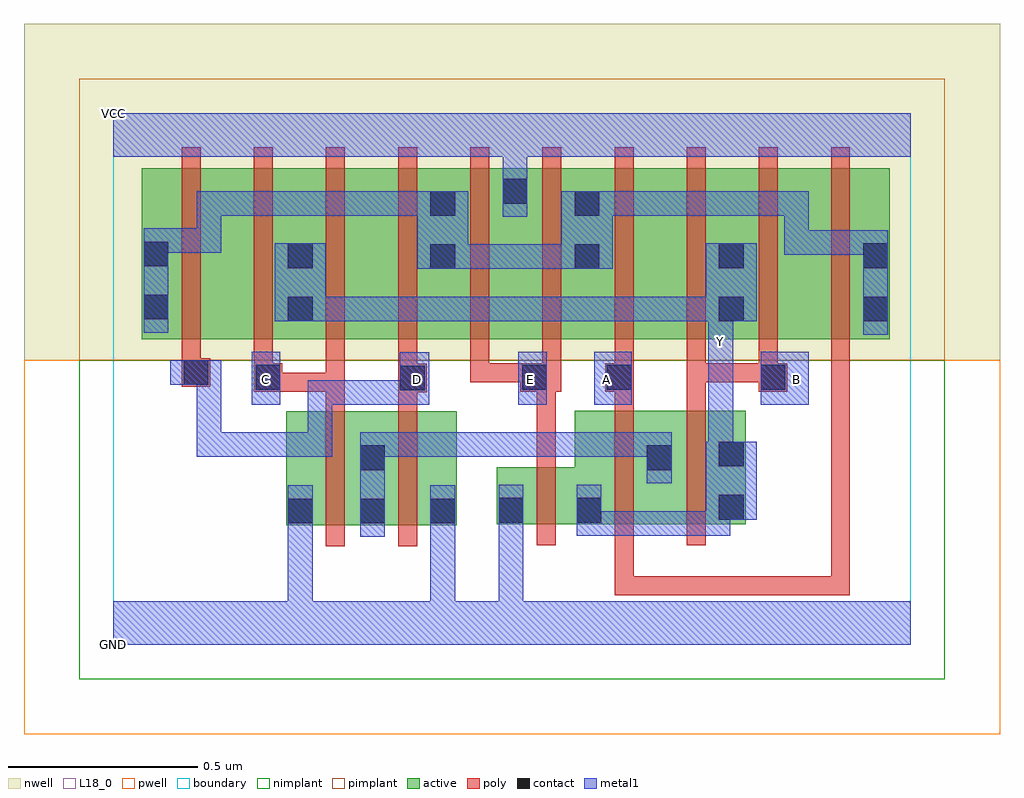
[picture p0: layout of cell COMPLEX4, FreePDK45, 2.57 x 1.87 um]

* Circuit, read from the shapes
.subckt COMPLEX4 A B C D E GND VCC Y
M1 n1 C GND VSUBS nfet w=0.3u l=0.05u
M2 GND D n1 VSUBS nfet w=0.3u l=0.05u
M3 Y E GND VSUBS nfet w=0.15u l=0.05u
M4 n1 A Y VSUBS nfet w=0.3u l=0.05u
M5 Y B n1 VSUBS nfet w=0.3u l=0.05u
M6 n2 D n3 n4 pfet w=0.45u l=0.05u
M7 Y C n2 n4 pfet w=0.45u l=0.05u
M8 n5 C Y n4 pfet w=0.45u l=0.05u
M9 n3 D n5 n4 pfet w=0.45u l=0.05u
M10 VCC E n3 n4 pfet w=0.45u l=0.05u m=2
M11 n6 A n3 n4 pfet w=0.45u l=0.05u
M12 Y B n6 n4 pfet w=0.45u l=0.05u
M13 n7 B Y n4 pfet w=0.45u l=0.05u
M14 n3 A n7 n4 pfet w=0.45u l=0.05u
.ends

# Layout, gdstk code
import gdstk
lib = gdstk.Library(unit=1e-6, precision=1e-09)
def R(c, l, rs):  # rectangles x0, y0, x1, y1
    for r in rs: c.add(gdstk.rectangle(r[:2], r[2:], *l))
def A(c, l, x, y, w, h, nx, ny, dx, dy):  # array of equal rectangles
    R(c, l, [(x+i*dx, y+j*dy, x+i*dx+w, y+j*dy+h) for i in range(nx) for j in range(ny)])
active = (1, 0)
pwell = (2, 0)
nwell = (3, 0)
nimplant = (4, 0)
pimplant = (5, 0)
poly = (9, 0)
contact = (10, 0)
metal1 = (11, 0)
L18_0 = (18, 0)
boundary = (235, 0)

complex4 = lib.new_cell('COMPLEX4')
R(complex4, active, [(0.455,0.315,0.53,0.615), (0.455,0.315,0.72,0.615), (0.645,0.315,0.905,0.615), (0.645,0.315,0.72,0.53), (0.83,0.315,0.905,0.547), (1.01,0.317,1.085,0.467), (1.01,0.317,1.29,0.467), (1.215,0.317,1.475,0.617), (1.215,0.317,1.29,0.467), (1.4,0.317,1.665,0.617), (1.59,0.317,1.665,0.617), (1.4,0.395,1.475,0.53), (0.075,0.805,0.3,1.255), (0.075,0.805,0.18,1.2), (0.3,0.805,0.53,1.255), (0.455,0.805,0.68,1.255), (0.455,0.805,0.53,1.07), (0.68,0.805,0.905,1.255), (0.83,0.805,1.095,1.255), (1.02,0.805,1.285,1.255), (1.21,0.805,1.44,1.255), (1.44,0.805,1.665,1.255), (1.59,0.805,1.82,1.255), (1.59,0.805,1.665,1.07), (1.82,0.805,2.045,1.255), (1.97,0.805,2.045,1.2), (1.02,0.852,1.095,1.255), (0.83,0.857,0.905,1.2), (1.21,0.857,1.285,1.2)])
R(complex4, pwell, [(-0.235,-0.235,2.335,0.75)])
R(complex4, nwell, [(-0.235,0.75,2.335,1.635)])
R(complex4, nimplant, [(-0.09,-0.09,2.19,0.75)])
R(complex4, pimplant, [(-0.09,0.75,2.19,1.49)])
A(complex4, poly, 0.94, 0.692, 0.05, 0.108, 5, 1, 0.19, 0)
A(complex4, poly, 0.18, 0.75, 0.05, 0.56, 10, 1, 0.19, 0)
R(complex4, poly, [(1.32,0.13,1.37,0.18), (1.32,0.13,1.37,0.18), (1.32,0.13,1.37,0.18), (1.32,0.13,1.56,0.18), (1.32,0.13,1.37,0.312), (1.51,0.13,1.56,0.18), (1.51,0.13,1.692,0.18), (1.642,0.13,1.692,0.18), (1.642,0.13,1.692,0.18), (1.642,0.13,1.692,0.18), (1.642,0.13,1.692,0.18), (1.642,0.13,1.692,0.18), (1.642,0.13,1.94,0.18), (1.89,0.13,1.94,0.8), (1.89,0.13,1.94,0.18), (1.89,0.13,1.94,0.18), (1.89,0.13,1.94,0.18), (1.89,0.13,1.94,0.18), (1.89,0.13,1.94,0.18), (1.89,0.13,1.94,0.18), (1.89,0.13,1.94,0.18), (1.89,0.13,1.94,0.18), (1.89,0.13,1.94,0.18), (0.56,0.26,0.61,0.67), (0.75,0.26,0.8,0.67), (1.115,0.262,1.165,0.522), (1.32,0.262,1.37,0.672), (1.51,0.262,1.56,0.672), (1.115,0.472,1.165,0.717), (0.56,0.62,0.61,0.717), (0.75,0.62,0.8,0.715), (1.32,0.622,1.37,0.717), (1.51,0.622,1.56,0.742), (0.75,0.665,0.825,0.74), (0.37,0.667,0.445,0.742), (0.395,0.667,0.61,0.717), (0.56,0.667,0.61,0.717), (0.56,0.667,0.61,0.717), (0.56,0.667,0.61,0.717), (0.56,0.667,0.61,0.8), (1.072,0.667,1.18,0.742), (1.295,0.667,1.37,0.742), (1.7,0.667,1.775,0.742), (0.18,0.68,0.255,0.755), (0.75,0.69,0.8,0.8), (0.37,0.692,0.42,0.8), (0.94,0.692,0.99,0.742), (0.94,0.692,1.122,0.742), (1.072,0.692,1.122,0.742), (1.072,0.692,1.122,0.742), (1.51,0.692,1.56,0.742), (1.51,0.692,1.75,0.742), (1.7,0.692,1.75,0.742), (1.7,0.692,1.75,0.742), (0.18,0.705,0.23,0.8)])
R(complex4, contact, [(0.46,0.32,0.525,0.385), (0.65,0.32,0.715,0.385), (0.835,0.32,0.9,0.385), (1.015,0.322,1.08,0.387), (1.22,0.322,1.285,0.387), (1.595,0.33,1.66,0.395), (0.65,0.46,0.715,0.525), (1.405,0.46,1.47,0.525), (1.595,0.47,1.66,0.535), (0.755,0.67,0.82,0.735), (0.375,0.672,0.44,0.737), (1.077,0.672,1.142,0.737), (1.3,0.672,1.365,0.737), (1.705,0.672,1.77,0.737), (0.185,0.685,0.25,0.75), (0.46,0.852,0.525,0.917), (1.595,0.852,1.66,0.917), (1.975,0.852,2.04,0.917), (0.08,0.857,0.145,0.922), (0.835,0.99,0.9,1.055), (1.215,0.99,1.28,1.055), (0.46,0.992,0.525,1.057), (1.595,0.992,1.66,1.057), (1.975,0.992,2.04,1.057), (0.08,0.997,0.145,1.062), (0.835,1.13,0.9,1.195), (1.215,1.13,1.28,1.195), (1.025,1.162,1.09,1.227)])
R(complex4, metal1, [(0,0,2.1,0.115), (0.46,0.05,0.525,0.115), (0.46,0.05,0.525,0.115), (0.46,0.05,0.525,0.35), (0.835,0.05,0.9,0.115), (0.835,0.05,0.9,0.115), (0.835,0.05,0.9,0.115), (0.835,0.05,0.9,0.115), (0.835,0.05,0.9,0.35), (1.015,0.05,1.08,0.115), (1.015,0.05,1.08,0.115), (1.015,0.05,1.08,0.115), (1.015,0.05,1.08,0.115), (1.015,0.05,1.08,0.115), (1.015,0.05,1.08,0.115), (1.015,0.05,1.08,0.352), (0.46,0.285,0.525,0.35), (0.46,0.285,0.525,0.35), (0.46,0.285,0.525,0.42), (0.65,0.285,0.715,0.56), (0.835,0.285,0.9,0.42), (1.015,0.287,1.08,0.422), (1.22,0.287,1.285,0.352), (1.22,0.287,1.285,0.352), (1.22,0.287,1.285,0.422), (1.22,0.287,1.452,0.352), (1.387,0.287,1.452,0.352), (1.387,0.287,1.625,0.352), (1.56,0.287,1.625,0.352), (1.56,0.287,1.625,0.352), (1.56,0.287,1.625,0.352), (1.56,0.287,1.625,0.395), (1.56,0.33,1.695,0.535), (1.405,0.425,1.47,0.56), (1.567,0.47,1.632,0.797), (0.22,0.495,0.285,0.56), (0.22,0.495,0.44,0.56), (0.22,0.495,0.285,0.75), (0.375,0.495,0.44,0.56), (0.375,0.495,0.577,0.56), (0.512,0.495,0.577,0.56), (0.512,0.495,0.577,0.697), (0.65,0.495,0.857,0.56), (0.792,0.495,0.857,0.56), (0.792,0.495,0.857,0.56), (0.792,0.495,0.857,0.56), (0.792,0.495,0.995,0.56), (0.93,0.495,0.995,0.56), (0.93,0.495,1.072,0.56), (1.007,0.495,1.072,0.56), (1.007,0.495,1.147,0.56), (1.082,0.495,1.147,0.56), (1.082,0.495,1.285,0.56), (1.22,0.495,1.285,0.56), (1.22,0.495,1.285,0.56), (1.22,0.495,1.285,0.56), (1.22,0.495,1.47,0.56), (0.365,0.632,0.44,0.772), (0.512,0.632,0.577,0.697), (0.512,0.632,0.577,0.697), (0.512,0.632,0.577,0.697), (0.512,0.632,0.715,0.697), (0.65,0.632,0.715,0.697), (0.65,0.632,0.82,0.697), (0.755,0.632,0.832,0.77), (1.067,0.632,1.142,0.772), (1.267,0.632,1.365,0.772), (1.705,0.632,1.832,0.772), (0.15,0.685,0.285,0.75), (0.22,0.685,0.285,0.75), (0.22,0.685,0.285,0.75), (1.567,0.732,1.632,0.867), (1.567,0.802,1.632,0.917), (1.975,0.817,2.04,1.092), (0.08,0.822,0.145,1.097), (0.425,0.852,0.56,1.057), (0.495,0.852,0.577,0.917), (0.512,0.852,0.577,0.917), (0.512,0.852,0.72,0.917), (0.655,0.852,0.72,0.917), (0.655,0.852,0.72,0.917), (0.655,0.852,0.72,0.917), (0.655,0.852,0.935,0.917), (0.87,0.852,0.935,0.917), (0.87,0.852,0.995,0.917), (0.93,0.852,0.995,0.917), (0.93,0.852,1.095,0.917), (1.03,0.852,1.095,0.917), (1.03,0.852,1.145,0.917), (1.08,0.852,1.145,0.917), (1.08,0.852,1.315,0.917), (1.25,0.852,1.315,0.917), (1.25,0.852,1.315,0.917), (1.25,0.852,1.315,0.917), (1.25,0.852,1.452,0.917), (1.387,0.852,1.452,0.917), (1.387,0.852,1.625,0.917), (1.56,0.852,1.625,0.917), (1.56,0.852,1.625,0.917), (1.56,0.852,1.695,1.057), (0.8,0.99,0.935,1.195), (0.87,0.99,0.995,1.055), (0.93,0.99,0.995,1.055), (0.93,0.99,1.107,1.055), (1.042,0.99,1.107,1.055), (1.042,0.99,1.132,1.055), (1.067,0.99,1.132,1.055), (1.067,0.99,1.245,1.055), (1.18,0.99,1.315,1.195), (1.767,1.027,1.832,1.092), (1.767,1.027,2.04,1.092), (1.767,1.027,1.832,1.195), (1.975,1.027,2.04,1.092), (1.975,1.027,2.04,1.092), (0.08,1.032,0.285,1.097), (0.22,1.032,0.285,1.097), (0.22,1.032,0.285,1.097), (0.22,1.032,0.285,1.097), (0.22,1.032,0.285,1.195), (1.025,1.127,1.09,1.262), (0.22,1.13,0.285,1.195), (0.22,1.13,0.422,1.195), (0.357,1.13,0.422,1.195), (0.357,1.13,0.577,1.195), (0.512,1.13,0.577,1.195), (0.512,1.13,0.577,1.195), (0.512,1.13,0.577,1.195), (0.512,1.13,0.715,1.195), (0.65,1.13,0.715,1.195), (0.65,1.13,0.715,1.195), (0.65,1.13,0.715,1.195), (0.65,1.13,0.865,1.195), (1.25,1.13,1.315,1.195), (1.25,1.13,1.315,1.195), (1.25,1.13,1.487,1.195), (1.422,1.13,1.487,1.195), (1.422,1.13,1.487,1.195), (1.422,1.13,1.487,1.195), (1.422,1.13,1.625,1.195), (1.56,1.13,1.625,1.195), (1.56,1.13,1.832,1.195), (1.767,1.13,1.832,1.195), (1.767,1.13,1.832,1.195), (1.767,1.13,1.832,1.195), (1.025,1.197,1.09,1.35), (0,1.285,2.1,1.4)])
R(complex4, L18_0, [(0,0,2.1,0.115), (0.46,0.05,0.525,0.115), (0.46,0.05,0.525,0.115), (0.46,0.05,0.525,0.35), (0.835,0.05,0.9,0.115), (0.835,0.05,0.9,0.115), (0.835,0.05,0.9,0.115), (0.835,0.05,0.9,0.115), (0.835,0.05,0.9,0.35), (1.015,0.05,1.08,0.115), (1.015,0.05,1.08,0.115), (1.015,0.05,1.08,0.115), (1.015,0.05,1.08,0.115), (1.015,0.05,1.08,0.115), (1.015,0.05,1.08,0.115), (1.015,0.05,1.08,0.352), (0.46,0.285,0.525,0.35), (0.46,0.285,0.525,0.35), (0.46,0.285,0.525,0.42), (0.835,0.285,0.9,0.42), (1.015,0.287,1.08,0.422), (1.22,0.287,1.285,0.352), (1.22,0.287,1.285,0.352), (1.22,0.287,1.285,0.422), (1.22,0.287,1.452,0.352), (1.387,0.287,1.452,0.352), (1.387,0.287,1.625,0.352), (1.56,0.287,1.625,0.352), (1.56,0.287,1.625,0.352), (1.56,0.287,1.625,0.352), (1.56,0.287,1.625,0.395), (1.56,0.33,1.695,0.535), (1.567,0.47,1.632,0.797), (0.22,0.495,0.285,0.56), (0.22,0.495,0.285,0.75), (0.22,0.495,0.44,0.56), (0.375,0.495,0.44,0.56), (0.375,0.495,0.577,0.56), (0.512,0.495,0.577,0.56), (0.512,0.495,0.577,0.697), (0.365,0.632,0.44,0.772), (0.512,0.632,0.577,0.697), (0.512,0.632,0.577,0.697), (0.512,0.632,0.577,0.697), (0.512,0.632,0.715,0.697), (0.65,0.632,0.715,0.697), (0.65,0.632,0.82,0.697), (0.755,0.632,0.832,0.77), (1.067,0.632,1.142,0.772), (1.267,0.632,1.365,0.772), (1.705,0.632,1.832,0.772), (0.367,0.667,0.432,0.732), (0.767,0.667,0.832,0.732), (1.067,0.667,1.132,0.732), (1.267,0.667,1.332,0.732), (1.767,0.667,1.832,0.732), (0.15,0.685,0.285,0.75), (0.22,0.685,0.285,0.75), (0.22,0.685,0.285,0.75), (1.567,0.732,1.632,0.867), (1.567,0.767,1.632,0.832), (1.567,0.802,1.632,0.917), (0.425,0.852,0.56,1.057), (0.495,0.852,0.577,0.917), (0.512,0.852,0.577,0.917), (0.512,0.852,0.72,0.917), (0.655,0.852,0.72,0.917), (0.655,0.852,0.72,0.917), (0.655,0.852,0.72,0.917), (0.655,0.852,0.935,0.917), (0.87,0.852,0.935,0.917), (0.87,0.852,0.995,0.917), (0.93,0.852,0.995,0.917), (0.93,0.852,1.095,0.917), (1.03,0.852,1.095,0.917), (1.03,0.852,1.145,0.917), (1.08,0.852,1.145,0.917), (1.08,0.852,1.315,0.917), (1.25,0.852,1.315,0.917), (1.25,0.852,1.315,0.917), (1.25,0.852,1.315,0.917), (1.25,0.852,1.452,0.917), (1.387,0.852,1.452,0.917), (1.387,0.852,1.625,0.917), (1.56,0.852,1.625,0.917), (1.56,0.852,1.625,0.917), (1.56,0.852,1.695,1.057), (1.025,1.127,1.09,1.262), (1.025,1.197,1.09,1.35), (0,1.285,2.1,1.4)])
R(complex4, boundary, [(0,0,2.1,1.4)])
complex4.add(gdstk.Label('A', (1.3,0.7), layer=11, texttype=0))
complex4.add(gdstk.Label('B', (1.8,0.7), layer=11, texttype=0))
complex4.add(gdstk.Label('C', (0.4,0.7), layer=11, texttype=0))
complex4.add(gdstk.Label('D', (0.8,0.7), layer=11, texttype=0))
complex4.add(gdstk.Label('E', (1.1,0.7), layer=11, texttype=0))
complex4.add(gdstk.Label('Y', (1.6,0.8), layer=11, texttype=0))
complex4.add(gdstk.Label('VCC', (0,1.4), layer=11, texttype=0))
complex4.add(gdstk.Label('GND', (0,0), layer=11, texttype=0))

lib.write_gds('COMPLEX4.gds')
